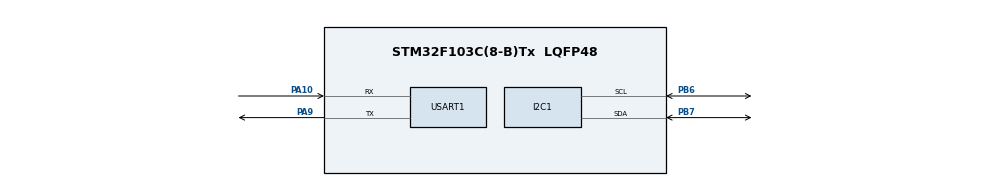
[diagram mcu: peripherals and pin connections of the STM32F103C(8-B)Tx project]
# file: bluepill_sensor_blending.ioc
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Mcu.Family=STM32F1
Mcu.Name=STM32F103C(8-B)Tx
Mcu.Package=LQFP48
NVIC.PriorityGroup=NVIC_PRIORITYGROUP_4
PA10.Mode=Asynchronous
PA10.Signal=USART1_RX
PA9.Mode=Asynchronous
PA9.Signal=USART1_TX
PB6.Mode=I2C
PB6.Signal=I2C1_SCL
PB7.Mode=I2C
PB7.Signal=I2C1_SDA
ProjectManager.HeapSize=0x200
ProjectManager.StackSize=0x400
ProjectManager.TargetToolchain=STM32CubeIDE
RCC.APB1Freq_Value=8000000
RCC.APB2Freq_Value=8000000
USART1.VirtualMode=VM_ASYNC
VP_SYS_VS_ND.Mode=No_Debug
board=custom

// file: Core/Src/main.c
/* USER CODE BEGIN Header */
/**
  ******************************************************************************
  * @file           : main.c
  * @brief          : Main program body
  ******************************************************************************
  * @attention
  *
  * Copyright (c) 2025 STMicroelectronics.
  * All rights reserved.
  *
  * This software is licensed under terms that can be found in the LICENSE file
  * in the root directory of this software component.
  * If no LICENSE file comes with this software, it is provided AS-IS.
  *
  ******************************************************************************
  */
/* USER CODE END Header */

/* USER CODE BEGIN Includes */
#include "mpu6050.h"
#include "string.h"
#include "stdio.h"
#include "math.h"
#include <ssd1306_fonts.h>
#include <ssd1306.h>
#include "main.h"

/* USER CODE END Includes */

I2C_HandleTypeDef hi2c1;

UART_HandleTypeDef huart1;

/* USER CODE BEGIN PV */

int __io_putchar(int ch) {
  HAL_UART_Transmit(&huart1, (uint8_t *)&ch, 1, HAL_MAX_DELAY);
  return ch;
}

// for gyro calibration
float gyro_offset_x = 0;
float gyro_offset_y = 0;
float gyro_offset_z = 0;

void Gyro_Calibrate(void)
{
    int32_t sum_x = 0, sum_y = 0, sum_z = 0;
    int16_t ax, ay, az;
    int16_t gx, gy, gz;

    const int samples = 500; // How many samples to average (you can tune)

    for (int i = 0; i < samples; i++)
    {
        MPU6050_Read_All(&hi2c1, &ax, &ay, &az, &gx, &gy, &gz);

        sum_x += gx;
        sum_y += gy;
        sum_z += gz;

        HAL_Delay(2); // Small delay to let sensor stabilize (~2 ms per sample)
    }

    gyro_offset_x = (float)sum_x / samples;
    gyro_offset_y = (float)sum_y / samples;
    gyro_offset_z = (float)sum_z / samples;
}

typedef struct {
    int8_t x_axis;
    int8_t y_axis;
    int8_t z_axis;
} OrientationMatrix;

/* USER CODE END PV */

void SystemClock_Config(void);
static void MX_GPIO_Init(void);
static void MX_I2C1_Init(void);
static void MX_USART1_UART_Init(void);

/* USER CODE BEGIN 0 */
int16_t ax, ay, az;
int16_t gx, gy, gz;

float alpha = 0.98f;

float pitch, roll, yaw;

char buffer[32];

OrientationMatrix orient = {
    .x_axis = 1,
    .y_axis = -1,
    .z_axis = 1
};

/* USER CODE END 0 */

int main(void)
{

  /* MCU Configuration--------------------------------------------------------*/

  /* Reset of all peripherals, Initializes the Flash interface and the Systick. */
  HAL_Init();

  /* Configure the system clock */
  SystemClock_Config();

  /* Initialize all configured peripherals */
  MX_GPIO_Init();
  MX_I2C1_Init();
  MX_USART1_UART_Init();

  /* USER CODE BEGIN 2 */
  ssd1306_Init();
  printf("SSD1306 init done\r\n");

  MPU6050_Init(&hi2c1);
  printf("MPU6050 init done\r\n");

  printf("Starting gyro calibration.Keep the board still!!!\r\n");
  Gyro_Calibrate();
  printf("Gyro calibration ended\r\n");

  uint32_t lastTick = HAL_GetTick();

  /* USER CODE END 2 */

  /* Infinite loop */
  /* USER CODE BEGIN WHILE */
  while (1)
  {
    // Read data from MPU6050
    MPU6050_Read_All(&hi2c1, &ax, &ay, &az, &gx, &gy, &gz);

    // Apply Orientation Correction (sensor rotated 90 deg, x and y swapped)
    int16_t ax_adj = ax * orient.x_axis;
    int16_t ay_adj = ay * orient.y_axis;
    int16_t az_adj = az * orient.z_axis;

    int16_t gx_adj = gx * orient.x_axis;
    int16_t gy_adj = gy * orient.y_axis;
    int16_t gz_adj = gz * orient.z_axis;

    float gx_dps = ((float)gx_adj - gyro_offset_x) / 131.0f;
    float gy_dps = ((float)gy_adj - gyro_offset_y) / 131.0f;
    float gz_dps = ((float)gz_adj - gyro_offset_z) / 131.0f;

    // Time difference
    uint32_t now = HAL_GetTick();
    float dt = (now - lastTick) / 1000.0f;
    lastTick = now;

    // Accel angles
    float acc_pitch = atan2((float)ax_adj, sqrt((float)(ay_adj * ay_adj + az_adj * az_adj))) * (180.0f / M_PI);
    float acc_roll  = atan2((float)ay_adj, sqrt((float)(ax_adj * ax_adj + az_adj * az_adj))) * (180.0f / M_PI);

    // Complementary Filter
//    pitch = alpha * (pitch + gx_dps * dt) + (1.0f - alpha) * acc_pitch;
//    roll  = alpha * (roll  + gy_dps * dt) + (1.0f - alpha) * acc_roll;
//    yaw += gz_dps * dt;
    pitch = acc_pitch;
	roll  = acc_roll;
	yaw += gz_dps * dt;

    // Keep yaw in 0-360 range
    if (yaw >= 360.0f) yaw -= 360.0f;
    if (yaw < 0.0f) yaw += 360.0f;

    // Set cursor to top-left and clear display
	ssd1306_Fill(Black);
    ssd1306_SetCursor(0, 0);

    // Format and display pitch (also send data to serial terminal)
    sprintf(buffer, "Pitch: %.2f", pitch);
    ssd1306_WriteString(buffer, Font_7x10, White);
    printf("Pitch: %.2f", pitch);

    // Move cursor lower (next line) and display roll (also send data to serial terminal)
    ssd1306_SetCursor(0, 12);
    sprintf(buffer, "Roll: %.2f", roll);
    ssd1306_WriteString(buffer, Font_7x10, White);
    printf("Pitch: %.2f", roll);

    ssd1306_SetCursor(0, 24);
    sprintf(buffer, "Yaw: %.2f", yaw);
    ssd1306_WriteString(buffer, Font_7x10, White);

    // Normalize Roll value to screen position
    // Let's say Roll goes from -45° to +45°
    float roll_clamped = roll;
    if (roll_clamped > 45) roll_clamped = 45;
    if (roll_clamped < -45) roll_clamped = -45;
    uint8_t roll_pos = (uint8_t)((roll_clamped + 45.0f) * (127.0f / 90.0f));

    float pitch_clamped = pitch;
    if (pitch_clamped > 45) pitch_clamped = 45;
    if (pitch_clamped < -45) pitch_clamped = -45;
    uint8_t pitch_pos = (uint8_t)((pitch_clamped + 45.0f) * (63.0f / 90.0f));

    // Draw tilt indicators
    ssd1306_Line(64, 63, roll_pos, 50, White); // Roll bar (horizontal)
    ssd1306_Line(64, 32, 64, pitch_pos, White); // Pitch bar (vertical)

    // 6. Update the screen with new content
    ssd1306_UpdateScreen();

    // 7. Delay before next update
    HAL_Delay(20);

	/* USER CODE END WHILE */

  }
}

void SystemClock_Config(void)
{
  RCC_OscInitTypeDef RCC_OscInitStruct = {0};
  RCC_ClkInitTypeDef RCC_ClkInitStruct = {0};

  /** Initializes the RCC Oscillators according to the specified parameters
  * in the RCC_OscInitTypeDef structure.
  */
  RCC_OscInitStruct.OscillatorType = RCC_OSCILLATORTYPE_HSI;
  RCC_OscInitStruct.HSIState = RCC_HSI_ON;
  RCC_OscInitStruct.HSICalibrationValue = RCC_HSICALIBRATION_DEFAULT;
  RCC_OscInitStruct.PLL.PLLState = RCC_PLL_NONE;
  if (HAL_RCC_OscConfig(&RCC_OscInitStruct) != HAL_OK)
  {
    Error_Handler();
  }

  /** Initializes the CPU, AHB and APB buses clocks
  */
  RCC_ClkInitStruct.ClockType = RCC_CLOCKTYPE_HCLK|RCC_CLOCKTYPE_SYSCLK
                              |RCC_CLOCKTYPE_PCLK1|RCC_CLOCKTYPE_PCLK2;
  RCC_ClkInitStruct.SYSCLKSource = RCC_SYSCLKSOURCE_HSI;
  RCC_ClkInitStruct.AHBCLKDivider = RCC_SYSCLK_DIV1;
  RCC_ClkInitStruct.APB1CLKDivider = RCC_HCLK_DIV1;
  RCC_ClkInitStruct.APB2CLKDivider = RCC_HCLK_DIV1;

  if (HAL_RCC_ClockConfig(&RCC_ClkInitStruct, FLASH_LATENCY_0) != HAL_OK)
  {
    Error_Handler();
  }
}

static void MX_I2C1_Init(void)
{

  hi2c1.Instance = I2C1;
  hi2c1.Init.ClockSpeed = 100000;
  hi2c1.Init.DutyCycle = I2C_DUTYCYCLE_2;
  hi2c1.Init.OwnAddress1 = 0;
  hi2c1.Init.AddressingMode = I2C_ADDRESSINGMODE_7BIT;
  hi2c1.Init.DualAddressMode = I2C_DUALADDRESS_DISABLE;
  hi2c1.Init.OwnAddress2 = 0;
  hi2c1.Init.GeneralCallMode = I2C_GENERALCALL_DISABLE;
  hi2c1.Init.NoStretchMode = I2C_NOSTRETCH_DISABLE;
  if (HAL_I2C_Init(&hi2c1) != HAL_OK)
  {
    Error_Handler();
  }

}

static void MX_USART1_UART_Init(void)
{

  huart1.Instance = USART1;
  huart1.Init.BaudRate = 115200;
  huart1.Init.WordLength = UART_WORDLENGTH_8B;
  huart1.Init.StopBits = UART_STOPBITS_1;
  huart1.Init.Parity = UART_PARITY_NONE;
  huart1.Init.Mode = UART_MODE_TX_RX;
  huart1.Init.HwFlowCtl = UART_HWCONTROL_NONE;
  huart1.Init.OverSampling = UART_OVERSAMPLING_16;
  if (HAL_UART_Init(&huart1) != HAL_OK)
  {
    Error_Handler();
  }

}

static void MX_GPIO_Init(void)
{

  /* GPIO Ports Clock Enable */
  __HAL_RCC_GPIOA_CLK_ENABLE();
  __HAL_RCC_GPIOB_CLK_ENABLE();

}

void Error_Handler(void)
{
  __disable_irq();
  while (1)
  {
  }
}
